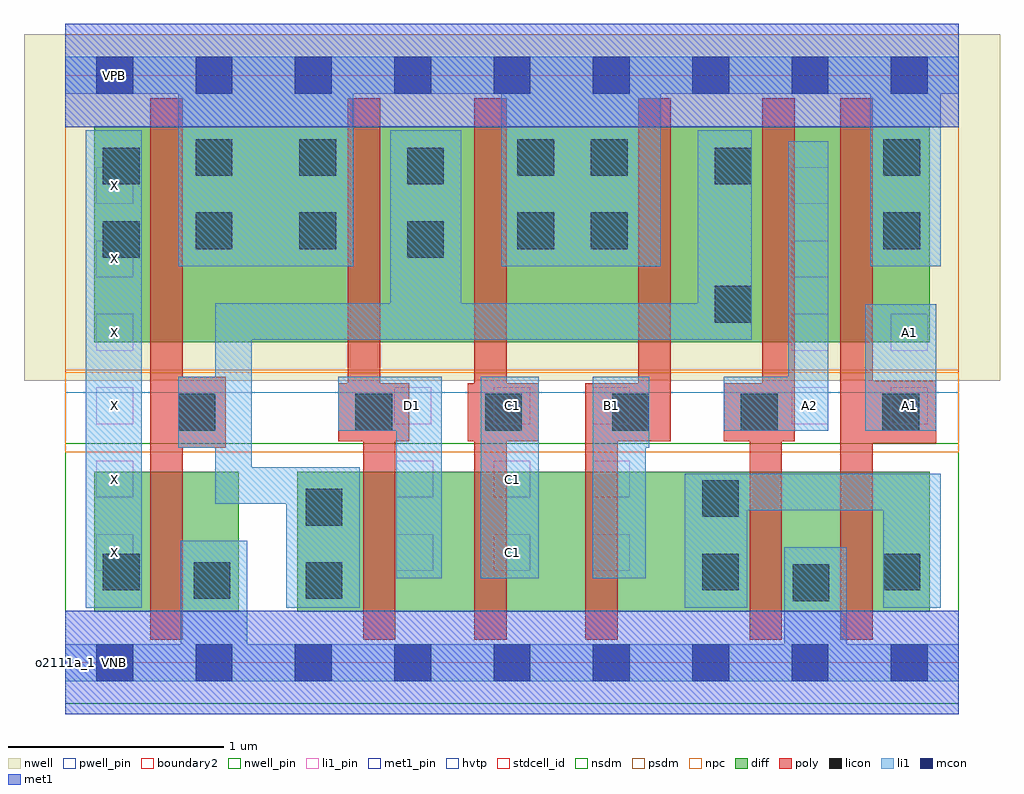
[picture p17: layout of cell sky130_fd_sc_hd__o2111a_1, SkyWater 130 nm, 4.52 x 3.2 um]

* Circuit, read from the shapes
.subckt sky130_fd_sc_hd__o2111a_1 A1 A2 B1 C1 D1 VGND VNB VPB VPWR X
XM1 VGND n1 X VNB sky130_fd_pr__nfet_01v8 w=0.65 l=0.15
XM2 n2 D1 n1 VNB sky130_fd_pr__nfet_01v8 w=0.65 l=0.15
XM3 n3 C1 n2 VNB sky130_fd_pr__nfet_01v8 w=0.65 l=0.15
XM4 n4 B1 n3 VNB sky130_fd_pr__nfet_01v8 w=0.65 l=0.15
XM5 VGND A2 n4 VNB sky130_fd_pr__nfet_01v8 w=0.65 l=0.15
XM6 n4 A1 VGND VNB sky130_fd_pr__nfet_01v8 w=0.65 l=0.15
XM7 VPWR n1 X VPB sky130_fd_pr__pfet_01v8_hvt w=1 l=0.15
XM8 n1 D1 VPWR VPB sky130_fd_pr__pfet_01v8_hvt w=1 l=0.15
XM9 VPWR C1 n1 VPB sky130_fd_pr__pfet_01v8_hvt w=1 l=0.15
XM10 n1 B1 VPWR VPB sky130_fd_pr__pfet_01v8_hvt w=1 l=0.15
XM11 n5 A2 n1 VPB sky130_fd_pr__pfet_01v8_hvt w=1 l=0.15
XM12 VPWR A1 n5 VPB sky130_fd_pr__pfet_01v8_hvt w=1 l=0.15
.ends

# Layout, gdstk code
import gdstk
lib = gdstk.Library(unit=1e-6, precision=1e-09)
def R(c, l, rs):  # rectangles x0, y0, x1, y1
    for r in rs: c.add(gdstk.rectangle(r[:2], r[2:], *l))
def A(c, l, x, y, w, h, nx, ny, dx, dy):  # array of equal rectangles
    R(c, l, [(x+i*dx, y+j*dy, x+i*dx+w, y+j*dy+h) for i in range(nx) for j in range(ny)])
def P(c, l, *ps):  # polygons
    for p in ps: c.add(gdstk.Polygon(p, *l))
nwell_pin = (64, 16)
nwell = (64, 20)
diff = (65, 20)
poly = (66, 20)
licon = (66, 44)
li1_pin = (67, 16)
li1 = (67, 20)
mcon = (67, 44)
met1_pin = (68, 16)
met1 = (68, 20)
hvtp = (78, 44)
stdcell_id = (81, 4)
nsdm = (93, 44)
psdm = (94, 20)
npc = (95, 20)
pwell_pin = (122, 16)
boundary2 = (236, 0)

sky130_fd_sc_hd__o2111a_ = lib.new_cell('sky130_fd_sc_hd__o2111a_1')
R(sky130_fd_sc_hd__o2111a_, nwell_pin, [(0.145,2.635,0.315,2.805)])
R(sky130_fd_sc_hd__o2111a_, nwell, [(-0.19,1.305,4.33,2.91)])
R(sky130_fd_sc_hd__o2111a_, diff, [(0.135,0.235,0.805,0.885), (1.075,0.235,4.005,0.885), (0.135,1.485,4.005,2.485)])
R(sky130_fd_sc_hd__o2111a_, poly, [(3.74,1.015,4.035,1.025), (3.74,1.295,4.035,1.305)])
P(sky130_fd_sc_hd__o2111a_, poly, [(0.745,1.325),(0.545,1.325),(0.545,2.615),(0.395,2.615),(0.395,0.105),(0.545,0.105),(0.545,0.995),(0.745,0.995)],
  [(1.595,1.295),(1.46,1.295),(1.46,2.615),(1.31,2.615),(1.31,1.295),(1.265,1.295),(1.265,1.025),(1.38,1.025),(1.38,0.105),(1.53,0.105),(1.53,1.025),(1.595,1.025)],
  [(2.195,1.295),(2.045,1.295),(2.045,2.615),(1.895,2.615),(1.895,1.295),(1.865,1.295),(1.865,1.025),(1.895,1.025),(1.895,0.105),(2.045,0.105),(2.045,1.025),(2.195,1.025)],
  [(2.805,2.615),(2.655,2.615),(2.655,1.295),(2.41,1.295),(2.41,0.105),(2.56,0.105),(2.56,1.025),(2.805,1.025)],
  [(3.38,2.615),(3.23,2.615),(3.23,1.295),(3.05,1.295),(3.05,1.025),(3.17,1.025),(3.17,0.105),(3.32,0.105),(3.32,1.025),(3.38,1.025)],
  [(4.035,1.295),(3.74,1.295),(3.74,2.615),(3.59,2.615),(3.59,0.105),(3.74,0.105),(3.74,1.025),(4.035,1.025)])
R(sky130_fd_sc_hd__o2111a_, licon, [(3.37,0.285,3.54,0.455), (0.595,0.295,0.765,0.465), (1.115,0.295,1.285,0.465), (0.175,0.335,0.345,0.505), (2.95,0.335,3.12,0.505), (3.79,0.335,3.96,0.505), (1.115,0.635,1.285,0.805), (2.95,0.675,3.12,0.845), (0.525,1.075,0.695,1.245), (1.345,1.075,1.515,1.245), (1.945,1.075,2.115,1.245), (2.535,1.075,2.705,1.245), (3.13,1.075,3.3,1.245), (3.785,1.075,3.955,1.245), (3.01,1.575,3.18,1.745), (0.175,1.875,0.345,2.045), (1.585,1.875,1.755,2.045), (0.605,1.915,0.775,2.085), (1.085,1.915,1.255,2.085), (2.095,1.915,2.265,2.085), (2.435,1.915,2.605,2.085), (3.79,1.915,3.96,2.085), (0.175,2.215,0.345,2.385), (1.585,2.215,1.755,2.385), (3.01,2.215,3.18,2.385), (0.605,2.255,0.775,2.425), (1.085,2.255,1.255,2.425), (2.095,2.255,2.265,2.425), (2.435,2.255,2.605,2.425), (3.79,2.255,3.96,2.425)])
A(sky130_fd_sc_hd__o2111a_, li1_pin, 0.145, 0.425, 0.17, 0.17, 1, 6, 0, 0.34)
A(sky130_fd_sc_hd__o2111a_, li1_pin, 1.525, 1.105, 0.17, 0.17, 3, 1, 0.46, 0)
A(sky130_fd_sc_hd__o2111a_, li1_pin, 3.365, 1.105, 0.17, 0.17, 1, 4, 0, 0.34)
R(sky130_fd_sc_hd__o2111a_, li1_pin, [(1.535,0.425,1.705,0.595), (1.985,0.425,2.155,0.595), (2.445,0.425,2.615,0.595), (1.535,0.765,1.705,0.935), (1.985,0.765,2.155,0.935), (2.445,0.765,2.615,0.935), (3.825,1.105,3.995,1.275), (3.825,1.445,3.995,1.615)])
R(sky130_fd_sc_hd__o2111a_, li1, [(0.095,0.255,0.355,2.465), (1.925,0.39,2.195,1.325), (3.705,1.075,4.035,1.66)])
P(sky130_fd_sc_hd__o2111a_, li1, [(4.055,0.875),(2.87,0.875),(2.87,0.255),(3.16,0.255),(3.16,0.705),(3.79,0.705),(3.79,0.255),(4.055,0.255)],
  [(4.14,2.805),(0,2.805),(0,2.635),(0.525,2.635),(0.525,1.835),(1.335,1.835),(1.335,2.635),(2.02,2.635),(2.02,1.835),(2.76,1.835),(2.76,2.635),(3.73,2.635),(3.73,1.835),(4.055,1.835),(4.055,2.635),(4.14,2.635)],
  [(4.14,0.085),(3.62,0.085),(3.62,0.535),(3.33,0.535),(3.33,0.085),(0.845,0.085),(0.845,0.565),(0.535,0.565),(0.535,0.085),(0,0.085),(0,-0.085),(4.14,-0.085)],
  [(2.705,1.325),(2.445,1.325),(2.445,0.39),(2.69,0.39),(2.69,0.995),(2.705,0.995)],
  [(3.18,2.465),(2.93,2.465),(2.93,1.665),(1.835,1.665),(1.835,2.465),(1.505,2.465),(1.505,1.665),(0.695,1.665),(0.695,1.325),(0.525,1.325),(0.525,0.995),(0.695,0.995),(0.695,0.735),(1.025,0.735),(1.025,0.255),(1.365,0.255),(1.365,0.905),(0.865,0.905),(0.865,1.495),(3.18,1.495)],
  [(3.05,1.075),(3.05,1.325),(3.35,1.325),(3.35,2.415),(3.535,2.415),(3.535,1.075)],
  [(1.745,1.325),(1.265,1.325),(1.265,1.075),(1.535,1.075),(1.535,0.39),(1.745,0.39)])
A(sky130_fd_sc_hd__o2111a_, mcon, 0.145, -0.085, 0.17, 0.17, 9, 2, 0.46, 2.72)
R(sky130_fd_sc_hd__o2111a_, met1_pin, [(0.145,-0.085,0.315,0.085), (0.145,2.635,0.315,2.805)])
R(sky130_fd_sc_hd__o2111a_, hvtp, [(0,1.25,4.14,2.72)])
R(sky130_fd_sc_hd__o2111a_, stdcell_id, [(0,0,4.14,2.72)])
R(sky130_fd_sc_hd__o2111a_, nsdm, [(0,-0.19,4.14,1.015)])
R(sky130_fd_sc_hd__o2111a_, psdm, [(0,1.355,4.14,2.91)])
R(sky130_fd_sc_hd__o2111a_, npc, [(0,0.975,4.14,1.345)])
R(sky130_fd_sc_hd__o2111a_, pwell_pin, [(0.145,-0.085,0.315,0.085)])
R(sky130_fd_sc_hd__o2111a_, boundary2, [(0,0,4.14,2.72)])
sky130_fd_sc_hd__o2111a_.add(gdstk.FlexPath([(0,2.72),(4.14,2.72)], 0.48, ends="flush", simple_path=True, layer=68, datatype=20))  # met1
sky130_fd_sc_hd__o2111a_.add(gdstk.FlexPath([(0,0),(4.14,0)], 0.48, ends="flush", simple_path=True, layer=68, datatype=20))  # met1
sky130_fd_sc_hd__o2111a_.add(gdstk.Label('X', (0.23,2.21), layer=67, texttype=5))
sky130_fd_sc_hd__o2111a_.add(gdstk.Label('X', (0.23,1.87), layer=67, texttype=5))
sky130_fd_sc_hd__o2111a_.add(gdstk.Label('X', (0.23,1.19), layer=67, texttype=5))
sky130_fd_sc_hd__o2111a_.add(gdstk.Label('X', (0.23,0.85), layer=67, texttype=5))
sky130_fd_sc_hd__o2111a_.add(gdstk.Label('X', (0.23,0.51), layer=67, texttype=5))
sky130_fd_sc_hd__o2111a_.add(gdstk.Label('D1', (1.61,1.19), layer=67, texttype=5))
sky130_fd_sc_hd__o2111a_.add(gdstk.Label('C1', (2.07,1.19), layer=67, texttype=5))
sky130_fd_sc_hd__o2111a_.add(gdstk.Label('C1', (2.07,0.85), layer=67, texttype=5))
sky130_fd_sc_hd__o2111a_.add(gdstk.Label('C1', (2.07,0.51), layer=67, texttype=5))
sky130_fd_sc_hd__o2111a_.add(gdstk.Label('B1', (2.53,1.19), layer=67, texttype=5))
sky130_fd_sc_hd__o2111a_.add(gdstk.Label('A2', (3.45,1.19), layer=67, texttype=5))
sky130_fd_sc_hd__o2111a_.add(gdstk.Label('A1', (3.91,1.53), layer=67, texttype=5))
sky130_fd_sc_hd__o2111a_.add(gdstk.Label('A1', (3.91,1.19), layer=67, texttype=5))
sky130_fd_sc_hd__o2111a_.add(gdstk.Label('X', (0.23,1.53), layer=67, texttype=5))
sky130_fd_sc_hd__o2111a_.add(gdstk.Label('VNB', (0.23,0), layer=64, texttype=59))
sky130_fd_sc_hd__o2111a_.add(gdstk.Label('VPB', (0.23,2.72), layer=64, texttype=5))
sky130_fd_sc_hd__o2111a_.add(gdstk.Label('VPWR', (0.23,2.72), layer=68, texttype=5))
sky130_fd_sc_hd__o2111a_.add(gdstk.Label('VGND', (0.23,0), layer=68, texttype=5))
sky130_fd_sc_hd__o2111a_.add(gdstk.Label('o2111a_1', (0,0), layer=83, texttype=44))

lib.write_gds('sky130_fd_sc_hd__o2111a_1.gds')
